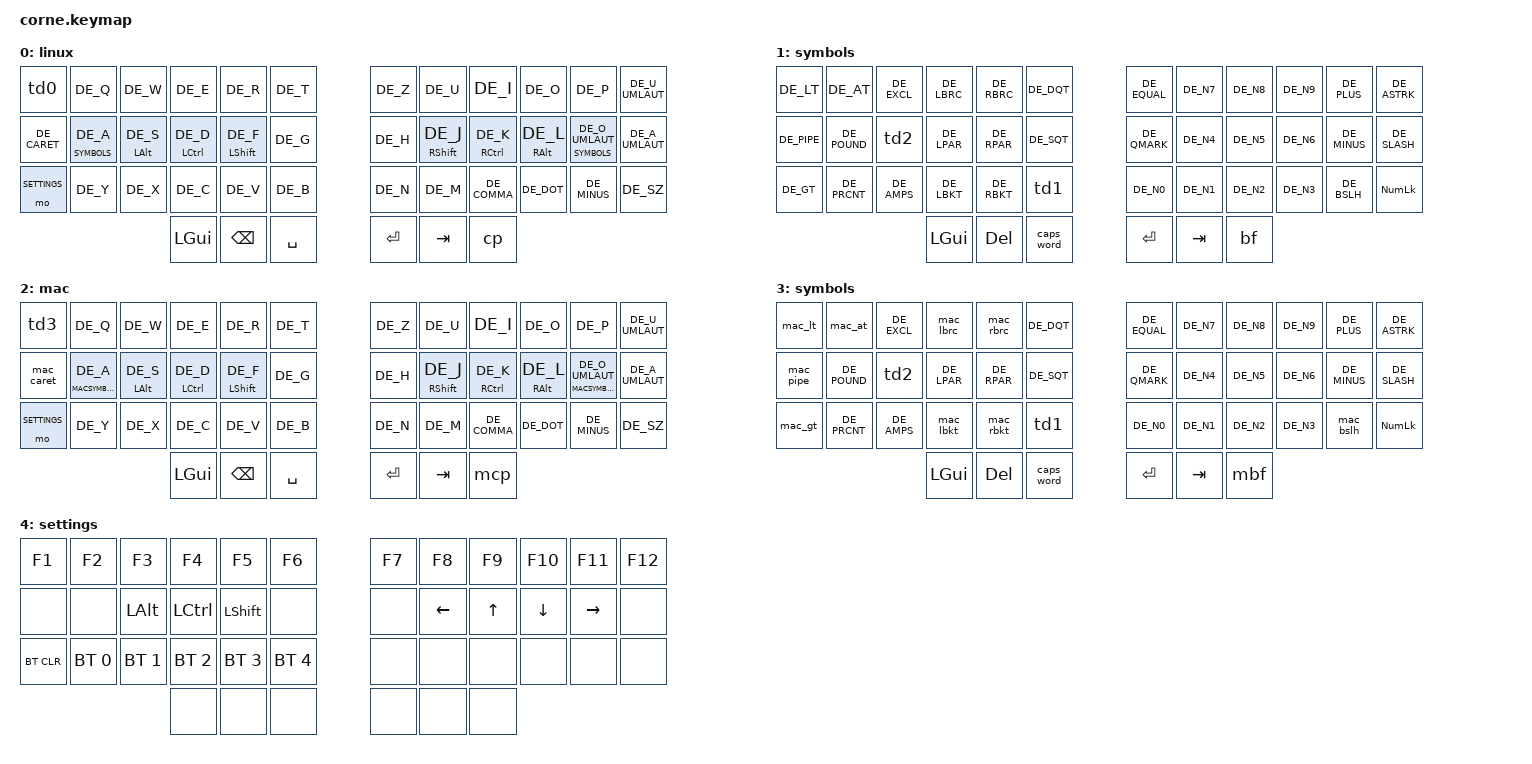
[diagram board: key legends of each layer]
/*
 * Copyright (c) 2020 The ZMK Contributors
 *
 * SPDX-License-Identifier: MIT
 */

#include <behaviors.dtsi>
#include <dt-bindings/zmk/keys.h>
#include <dt-bindings/zmk/bt.h>
#include "keys_de.h"

#define LINUX      0
#define SYMBOLS    1
#define MAC        2
#define MACSYMBOLS 3
#define SETTINGS   4


/ {
        macros {
                mac_caret: mac_caret {
                        compatible = "zmk,behavior-macro";
                        #binding-cells = <0>;
                        bindings
                        = <&macro_tap &kp DE_LT>;
                };
                mac_pipe: mac_pipe {
                        compatible = "zmk,behavior-macro";
                        #binding-cells = <0>;
                        bindings
                            = <&macro_tap &kp DE_LBRC>;
                };
                mac_lt: mac_lt {
                        compatible = "zmk,behavior-macro";
                        #binding-cells = <0>;
                        bindings
                            = <&macro_tap &kp DE_CARET>;
                };
                mac_gt: mac_gt {
                        compatible = "zmk,behavior-macro";
                        #binding-cells = <0>;
                        bindings
                            = <&macro_tap &kp LS(DE_CARET)>;
                };
                mac_lbrc: mac_lbrc {
                        compatible = "zmk,behavior-macro";
                        #binding-cells = <0>;
                        bindings
                            = <&macro_tap &kp DE_LBKT>;
                };
                mac_rbrc: mac_rbrc {
                        compatible = "zmk,behavior-macro";
                        #binding-cells = <0>;
                        bindings
                            = <&macro_tap &kp DE_RBKT>;
                };
                mac_tilde: mac_tilde {
                        compatible = "zmk,behavior-macro";
                        #binding-cells = <0>;
                        bindings
                            = <&macro_tap &kp LA(DE_N)>;
                };
                mac_bslh: mac_bslh {
                        compatible = "zmk,behavior-macro";
                        #binding-cells = <0>;
                        bindings
                            = <&macro_tap &kp RA(DE_Y)>;
                };
                mac_at: mac_at {
                        compatible = "zmk,behavior-macro";
                        #binding-cells = <0>;
                        bindings
                            = <&macro_tap &kp LA(DE_L)>;
                };
                mac_lbkt: mac_lbkt {
                        compatible = "zmk,behavior-macro";
                        #binding-cells = <0>;
                        bindings
                            = <&macro_tap &kp LA(DE_N5)>;
                };
                mac_rbkt: mac_rbkt {
                        compatible = "zmk,behavior-macro";
                        #binding-cells = <0>;
                        bindings
                            = <&macro_tap &kp LA(DE_N6)>;
                };
            };
        combos {
                compatible = "zmk,combos";
                combo_to_mac {
                        timeout-ms = <500>;
                        key-positions = <0 11>;
                        layers = <0>;
                        bindings = <&to MAC>;
                };
                combo_to_linux {
                        timeout-ms = <500>;
                        key-positions = <0 11>;
                        layers = <2>;
                        bindings = <&to LINUX>;
                };
        };
        behaviors {
                hl: homerow_mods_left {
                        compatible = "zmk,behavior-hold-tap";
                        #binding-cells = <2>;
                        tapping-term-ms = <400>;
                        quick-tap-ms = <200>;
                        flavor = "tap-unless-interrupted";
                        bindings = <&kp>, <&kp>;
                        hold-trigger-key-positions = <6 7 8 9 10 11 18 19 20 21 22 23 30 31 32 33 34 35 39 40 41>;
                };
                hr: homerow_mods_right {
                        compatible = "zmk,behavior-hold-tap";
                        #binding-cells = <2>;
                        tapping-term-ms = <400>;
                        quick-tap-ms = <200>;
                        flavor = "tap-unless-interrupted";
                        bindings = <&kp>, <&kp>;
                        hold-trigger-key-positions = <0 1 2 3 4 5 12 13 14 15 16 17 24 25 26 27 28 29 36 37 38>;
                };
                hml: homerow_mods_layer_left {
                        compatible = "zmk,behavior-hold-tap";
                        #binding-cells = <2>;
                        tapping-term-ms = <400>;
                        quick-tap-ms = <200>;
                        flavor = "tap-unless-interrupted";
                        bindings = <&mo>, <&kp>;
                        hold-trigger-key-positions = <6 7 8 9 10 11 18 19 20 21 22 23 30 31 32 33 34 35 39 40 41>;
                };
                hmr: homerow_mods_layer_right {
                        compatible = "zmk,behavior-hold-tap";
                        #binding-cells = <2>;
                        tapping-term-ms = <400>;
                        quick-tap-ms = <200>;
                        flavor = "tap-unless-interrupted";
                        bindings = <&mo>, <&kp>;
                        hold-trigger-key-positions = <0 1 2 3 4 5 12 13 14 15 16 17 24 25 26 27 28 29 36 37 38>;
                };
                td0: tap_dance_tilde_esc {
                        compatible = "zmk,behavior-tap-dance";
                        #binding-cells = <0>;
                        tapping-term-ms = <500>;
                        bindings = <&kp DE_TILDE>, <&kp ESC>;
                };
                td1: tap_dance_acute_grave {
                        compatible = "zmk,behavior-tap-dance";
                        #binding-cells = <0>;
                        tapping-term-ms = <200>;
                        bindings = <&kp DE_ACUTE>, <&kp DE_GRAVE>;
                };
                td2: tap_dance_dollar_sect {
                        compatible = "zmk,behavior-tap-dance";
                        #binding-cells = <0>;
                        tapping-term-ms = <200>;
                        bindings = <&kp DE_DLLR>, <&kp DE_SECT>;
                };
                td3: tap_dance_tilde_esc_mac {
                        compatible = "zmk,behavior-tap-dance";
                        #binding-cells = <0>;
                        tapping-term-ms = <500>;
                        bindings = <&mac_tilde>, <&kp ESC>;
                };
                cp: copy_paste {
                        compatible = "zmk,behavior-tap-dance";
                        #binding-cells = <0>;
                        tapping-term-ms = <500>;
                        bindings = <&kp LC(DE_C)>, <&kp LC(DE_V)>;
                };
                mcp: mac_copy_paste {
                        compatible = "zmk,behavior-tap-dance";
                        #binding-cells = <0>;
                        tapping-term-ms = <500>;
                        bindings = <&kp LG(DE_C)>, <&kp LG(DE_V)>;
                };
                bf: back_forward {
                        compatible = "zmk,behavior-tap-dance";
                        #binding-cells = <0>;
                        tapping-term-ms = <500>;
                        bindings = <&kp LC(DE_Z)>, <&kp LC(LS(DE_Z))>;
                };
                mbf: mac_back_forward {
                        compatible = "zmk,behavior-tap-dance";
                        #binding-cells = <0>;
                        tapping-term-ms = <500>;
                        bindings = <&kp LG(DE_Z)>, <&kp LG(LS(DE_Z))>;
                };
        };
        keymap {
                compatible = "zmk,keymap";

                default_layer {
                        display-name = "linux";
// ----------------------------------------------------------------------------------------------------------------------------------------------------------------------------------------------------------------------------------------------
// |   ~ + ESC          |    Q                  |    W                  |    E          |        R      |    T          |                       |    Y          |        U      |      I        |     O         |       P               |       ü       |
// |     ^              |    A                  |    S                  |    D          |    F + SHFT   |    G          |                       |    H          |    J + SHFT   |      K        |     L         |       ö               |       ä       |
// |  SETTINGS          |    Z                  |    X                  |    C          |        V      |    B          |                       |    N          |        M      |      ,        |     .         |       -               |       ß       |
//                                                                      |   GUI         |   Backspace   | SPC           |                       |   ENT         |       TAB     |   copy-paste  |
                        bindings = <
    &td0                &kp DE_Q                &kp DE_W                &kp DE_E        &kp DE_R        &kp DE_T                                &kp DE_Z        &kp DE_U        &kp DE_I        &kp DE_O        &kp DE_P                 &kp DE_U_UMLAUT
    &kp DE_CARET        &hml SYMBOLS DE_A       &hl LALT DE_S           &hl LCTRL DE_D  &hl LSHIFT DE_F &kp DE_G                                &kp DE_H        &hr RSHIFT DE_J &hr RCTRL DE_K  &hr RALT DE_L   &hmr SYMBOLS DE_O_UMLAUT &kp DE_A_UMLAUT
    &mo SETTINGS        &kp DE_Y                &kp DE_X                &kp DE_C        &kp DE_V        &kp DE_B                                &kp DE_N        &kp DE_M        &kp DE_COMMA    &kp DE_DOT      &kp DE_MINUS             &kp DE_SZ
                                                                        &kp LGUI        &kp BSPC        &kp SPACE                               &kp RET         &kp TAB         &cp
                        >;
                };

                symbols_layer {
                        display-name = "symbols";
// --------------------------------------------------------------------------------------------------------------------------------------------------------------------------------------------------------------
//  |  <        |  @            |  !            |  {            |  }            |  "       |                    |  =            |  7            |  8            |  9            |  +            |  *            |
//  |  |        |  #            |  $ + §        |  (            |  )            |  '       |                    |  ?            |  4            |  5            |  6            |  -            |  /            |
//  |  >        |  %            |  &            |  [            |  ]            |  ´ + `   |                    |  0            |  1            |  2            |  3            |  \            |NMLCK          |
//                                              | GUI           |     DEL       |  CAPS    |                    | ENT           |  TAB          | back-forward  |
                        bindings = <
    &kp DE_LT    &kp DE_AT      &kp DE_EXCL     &kp DE_LBRC     &kp DE_RBRC     &kp DE_DQT                      &kp DE_EQUAL    &kp DE_N7       &kp DE_N8       &kp DE_N9       &kp DE_PLUS     &kp DE_ASTRK
    &kp DE_PIPE  &kp DE_POUND   &td2            &kp DE_LPAR     &kp DE_RPAR     &kp DE_SQT                      &kp DE_QMARK    &kp DE_N4       &kp DE_N5       &kp DE_N6       &kp DE_MINUS    &kp DE_SLASH
    &kp DE_GT    &kp DE_PRCNT   &kp DE_AMPS     &kp DE_LBKT     &kp DE_RBKT     &td1                            &kp DE_N0       &kp DE_N1       &kp DE_N2       &kp DE_N3       &kp DE_BSLH     &kp KP_NUM
                                                &kp LGUI        &kp DEL         &caps_word                      &kp RET         &kp TAB         &bf
                        >;
                };

                mac_layer {
                        display-name = "mac";
// ----------------------------------------------------------------------------------------------------------------------------------------------------------------------------------------------------------------------------------------------
//  |   ~ + ESC         |    Q                  |    W          |    E          |        R      |    T          |               |    Y          |        U      |      I        |     O         |       P                       |       ü       |
//  |     ^             |    A                  |    S          |    D          |    F + SHFT   |    G          |               |    H          |    J + SHFT   |      K        |     L         |       ö                       |       ä       |
//  |  SETTINGS         |    Z                  |    X          |    C          |        V      |    B          |               |    N          |        M      |      ,        |     .         |       -                       |       ß       |
//                                                              |   GUI         |   Backspace   |     SPC       |               |   ENT         |       TAB     |   copy-paste  |
                        bindings = <
    &td3                &kp DE_Q                &kp DE_W        &kp DE_E        &kp DE_R        &kp DE_T                        &kp DE_Z        &kp DE_U        &kp DE_I        &kp DE_O        &kp DE_P                        &kp DE_U_UMLAUT
    &mac_caret          &hml MACSYMBOLS DE_A    &hl LALT DE_S   &hl LCTRL DE_D  &hl LSHIFT DE_F &kp DE_G                        &kp DE_H        &hr RSHIFT DE_J &hr RCTRL DE_K  &hr RALT DE_L   &hmr MACSYMBOLS DE_O_UMLAUT     &kp DE_A_UMLAUT
    &mo SETTINGS        &kp DE_Y                &kp DE_X        &kp DE_C        &kp DE_V        &kp DE_B                        &kp DE_N        &kp DE_M        &kp DE_COMMA    &kp DE_DOT      &kp DE_MINUS                    &kp DE_SZ
                                                                &kp LGUI        &kp BSPC        &kp SPACE                       &kp RET         &kp TAB         &mcp
                        >;
                };

             symbols_mac_layer {
                        display-name = "symbols";
// --------------------------------------------------------------------------------------------------------------------------------------------------------------------------------------------------------------
// |  <         |  @            |  !            |  {            |  }            |  "            |              |  =             |  7            |  8            |  9            |  +            |  *            |
// |  |         |  #            |  $ + §        |  (            |  )            |  '            |              |  ?             |  4            |  5            |  6            |  -            |  /            |
// |  >         |  %            |  &            |  [            |  ]            |  ´ + `        |              |  0             |  1            |  2            |  3            |  \            |NMLCK          |
//                                              | GUI           |     DEL       |  CAPS         |              | ENT            |  TAB          |mac-backforward|
                        bindings = <
   &mac_lt      &mac_at         &kp DE_EXCL     &mac_lbrc       &mac_rbrc       &kp DE_DQT                      &kp DE_EQUAL    &kp DE_N7       &kp DE_N8       &kp DE_N9       &kp DE_PLUS     &kp DE_ASTRK
   &mac_pipe    &kp DE_POUND    &td2            &kp DE_LPAR     &kp DE_RPAR     &kp DE_SQT                      &kp DE_QMARK    &kp DE_N4       &kp DE_N5       &kp DE_N6       &kp DE_MINUS    &kp DE_SLASH
   &mac_gt      &kp DE_PRCNT    &kp DE_AMPS     &mac_lbkt       &mac_rbkt       &td1                            &kp DE_N0       &kp DE_N1       &kp DE_N2       &kp DE_N3       &mac_bslh       &kp KP_NUM
                                                &kp LGUI        &kp DEL         &caps_word                      &kp RET         &kp TAB         &mbf
                        >;
                };

                setting_layer {
                        display-name = "settings";
// --------------------------------------------------------------------------------------------------------------------------------------------------------------------------------------
//  |   F1      |     F2        |      F3       |      F4       |      F5       |      F6       |               |  F7   |  F8           |  F9   |  F10          | F11           | F12   |
//  |           |               |     ALT       |     CTRL      |    SHIFT      |               |               |       |               |       |               |               |       |
//  |  BTCLR    |    BT1        |     BT2       |     BT3       |     BT4       |     BT5       |               |       |               |       |               |               |       |
//                                              |               |               |               |               |       |               |       |
                        bindings = <
    &kp F1      &kp F2          &kp F3          &kp F4          &kp F5          &kp F6                          &kp F7  &kp F8          &kp F9  &kp F10         &kp F11         &kp F12
    &none       &none           &kp LALT        &kp LCTRL       &kp LSHIFT      &none                           &none   &kp LEFT        &kp UP  &kp DOWN        &kp RIGHT       &none
    &bt BT_CLR  &bt BT_SEL 0    &bt BT_SEL 1    &bt BT_SEL 2    &bt BT_SEL 3    &bt BT_SEL 4                    &none   &none           &none   &none           &none           &none
                                                &none           &none           &none                           &none   &none           &none
                        >;
                };
        };
};
